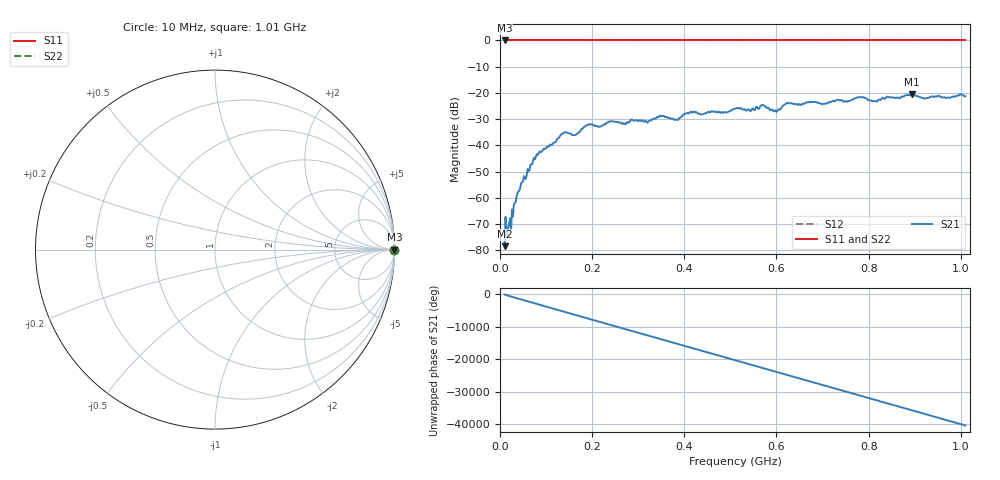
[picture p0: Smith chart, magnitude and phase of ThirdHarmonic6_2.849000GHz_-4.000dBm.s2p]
! 8/17/2025 7:41:50 AM
! C:\ANRITSUVNA\TEMP\TEMP.S2P
! CHANNEL.1
! TR.MEASUREMENT
! RAW.DATA
! RF.CORRECTION.OFF
! AVERAGING.OFF
! IF.BANDWIDTH: 5KHZ
! SWEEPTYPE:  FREQ.SWEEP(Linear)
! Reference Plane Port Info
! PORT:  PORT1  PORT2
! DISTANCE:  0  m  0  m
! TIME:  0  s  0  s
! PHASE.OFFSET:  0  deg.  0  deg.
! LOSS:  0  dB  0  dB
! REF.LOSS:  0  dB  0  dB
! REF.FREQ:  0  Hz  0  Hz
! Power Info
! POWER:  -20  dBm  -20  dBm
! EFF.POWER:  -20  dBm  -20  dBm
! SOURCE.ATTEN:  0  dB  0  dB
! TEST.ATTEN:  0  dB  0  dB
# GHZ S RI R 50.0
! FREQ.GHZ  S11RE  S11IM  S21RE  S21IM  S12RE  S12IM  S22RE  S22IM
!; PortSelection: Port_12
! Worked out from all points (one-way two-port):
!   501 points, 10 MHz to 1.01 GHz, reference 50 ohm
!   highest |S21| = -20.56 dB at 894 MHz (marker M1); lowest = -78.5 dB at 10 MHz (marker M2)
!   lowest |S11| = 0.0 dB at 10 MHz (marker M3)
!   |S11| at or under -10 dB: nowhere
!   |S22| runs from 0.0 to 0.0 dB; largest |S21 - S12| = 1.1
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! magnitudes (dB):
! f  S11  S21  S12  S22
! 10 MHz  0.0  -78.5  0.0  0.0
! 42 MHz  0.0  -57.2  0.0  0.0
! 76 MHz  0.0  -45.4  0.0  0.0
! 136 MHz  0.0  -35.6  0.0  0.0
! 162 MHz  0.0  -36.1  0.0  0.0
! 178 MHz  0.0  -33.7  0.0  0.0
! 192 MHz  0.0  -32.2  0.0  0.0
! 318 MHz  0.0  -31.0  0.0  0.0
! 344 MHz  0.0  -29.3  0.0  0.0
! 384 MHz  0.0  -30.2  0.0  0.0
! 416 MHz  0.0  -27.4  0.0  0.0
! 510 MHz  0.0  -26.0  0.0  0.0
! 540 MHz  0.0  -26.3  0.0  0.0
! 570 MHz  0.0  -24.6  0.0  0.0
! 598 MHz  0.0  -26.8  0.0  0.0
! 622 MHz  0.0  -24.0  0.0  0.0
! 678 MHz  0.0  -23.5  0.0  0.0
! 782 MHz  0.0  -21.7  0.0  0.0
! 814 MHz  0.0  -23.1  0.0  0.0
! 844 MHz  0.0  -21.6  0.0  0.0
! 894 MHz  0.0  -20.6  0.0  0.0
! 1.01 GHz  0.0  -21.3  0.0  0.0
